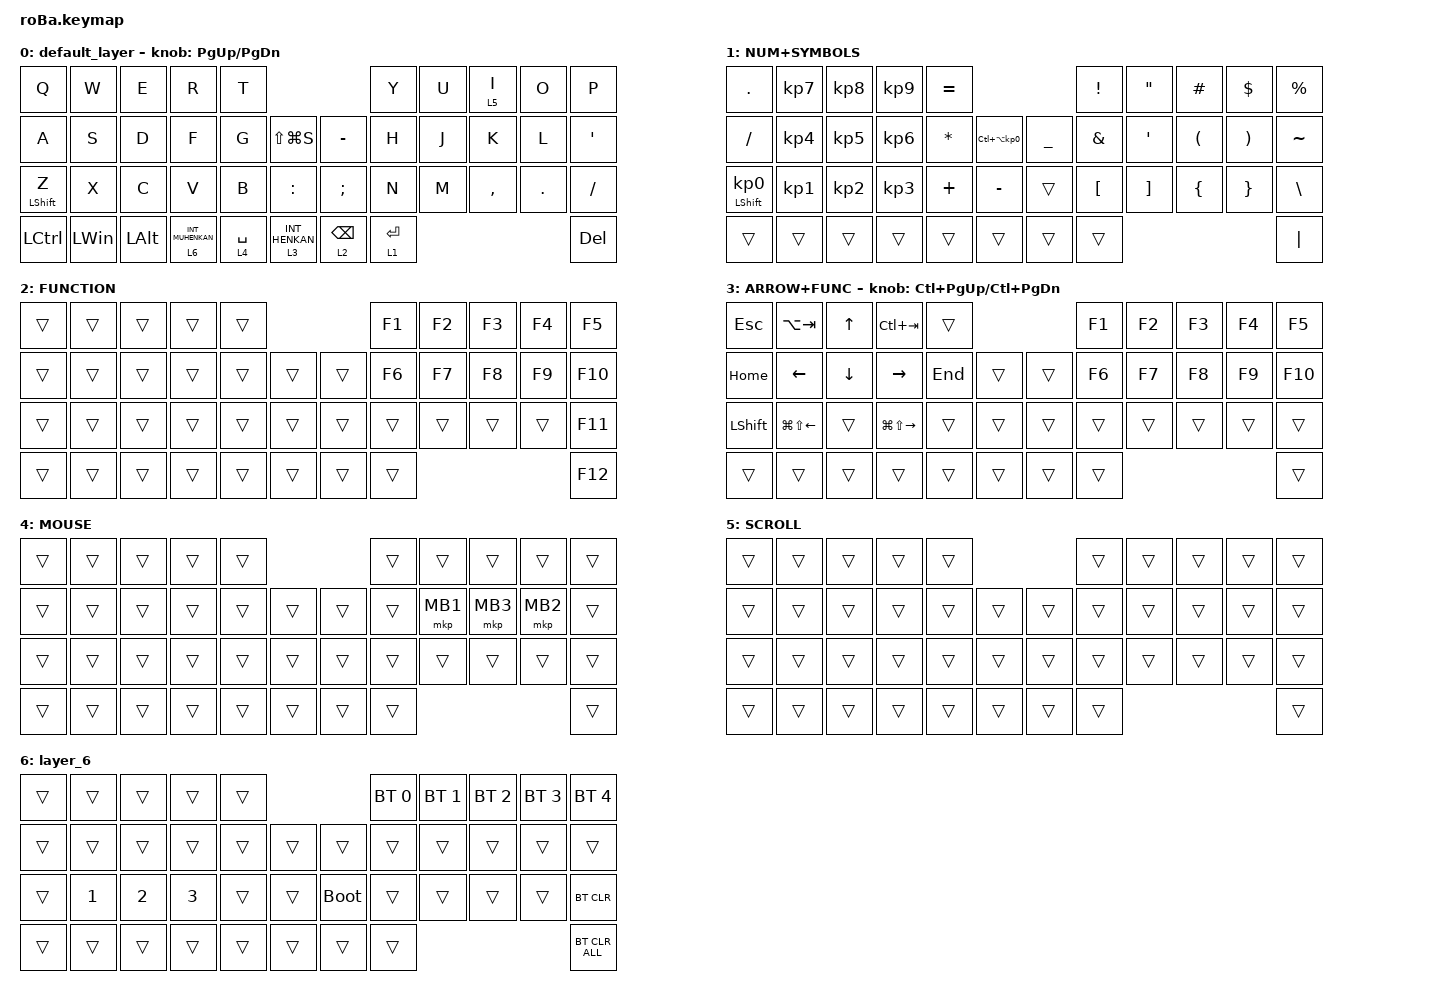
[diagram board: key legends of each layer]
#include <behaviors.dtsi>
#include <dt-bindings/zmk/bt.h>
#include <dt-bindings/zmk/keys.h>
#include <dt-bindings/zmk/pointing.h>

&mt {
    flavor = "balanced";
    quick-tap-ms = <0>;
};

/ {
    combos {
        compatible = "zmk,combos";

        tab {
            bindings = <&kp TAB>;
            key-positions = <11 12>;
        };

        shift_tab {
            bindings = <&kp LS(TAB)>;
            key-positions = <12 13>;
        };

        muhennkann {
            bindings = <&to_layer_0 INT_MUHENKAN>;
            key-positions = <11 10>;
        };

        double_quotation {
            bindings = <&kp DOUBLE_QUOTES>;
            key-positions = <20 21>;
        };

        eq {
            bindings = <&kp EQUAL>;
            key-positions = <24 25>;
        };
    };

    macros {
        to_layer_0: to_layer_0 {
            compatible = "zmk,behavior-macro-one-param";
            #binding-cells = <1>;
            bindings = <&to 0 &macro_param_1to1 &kp MACRO_PLACEHOLDER>;
            label = "TO_LAYER_0";
        };
    };

    behaviors {
        lt_to_layer_0: lt_to_layer_0 {
            compatible = "zmk,behavior-hold-tap";
            label = "LAYER_TAP_TO_0";
            bindings = <&mo>, <&to_layer_0>;

            #binding-cells = <2>;
            tapping-term-ms = <200>;
        };
    };

    keymap {
        compatible = "zmk,keymap";

        default_layer {
            bindings = <
&kp Q             &kp W         &kp E         &kp R                          &kp T                                               &kp Y        &kp U  &lt 5 I    &kp O    &kp P
&kp A             &kp S         &kp D         &kp F                          &kp G        &kp LS(LG(S))         &kp MINUS        &kp H        &kp J  &kp K      &kp L    &kp SQT
&mt LEFT_SHIFT Z  &kp X         &kp C         &kp V                          &kp B        &kp COLON             &kp SEMICOLON    &kp N        &kp M  &kp COMMA  &kp DOT  &kp SLASH
&kp LCTRL         &kp LEFT_WIN  &kp LEFT_ALT  &lt_to_layer_0 6 INT_MUHENKAN  &lt 4 SPACE  &lt 3 INT_HENKAN      &lt 2 BACKSPACE  &lt 1 ENTER                             &kp DEL
            >;

            sensor-bindings = <&inc_dec_kp PG_UP PAGE_DOWN>;
        };

        NUM+SYMBOLS {
            bindings = <
&kp PERIOD                  &kp KP_NUMBER_7  &kp KP_NUMBER_8  &kp KP_NUMBER_9  &kp EQUAL                                                  &kp EXCLAMATION   &kp DOUBLE_QUOTES  &kp HASH              &kp DOLLAR             &kp PERCENT
&kp SLASH                   &kp KP_NUMBER_4  &kp KP_NUMBER_5  &kp KP_NUMBER_6  &kp ASTERISK  &kp LC(LA(KP_NUMBER_0))      &kp UNDERSCORE  &kp AMPERSAND     &kp SQT            &kp LEFT_PARENTHESIS  &kp RIGHT_PARENTHESIS  &kp TILDE
&mt LEFT_SHIFT KP_NUMBER_0  &kp KP_NUMBER_1  &kp KP_NUMBER_2  &kp KP_NUMBER_3  &kp PLUS      &kp MINUS                    &trans          &kp LEFT_BRACKET  &kp RIGHT_BRACKET  &kp LEFT_BRACE        &kp RIGHT_BRACE        &kp BACKSLASH
&trans                      &trans           &trans           &trans           &trans        &trans                       &trans          &trans                                                                            &kp PIPE
            >;
        };

        FUNCTION {
            bindings = <
&trans  &trans  &trans  &trans  &trans                      &kp F1  &kp F2  &kp F3  &kp F4  &kp F5
&trans  &trans  &trans  &trans  &trans  &trans      &trans  &kp F6  &kp F7  &kp F8  &kp F9  &kp F10
&trans  &trans  &trans  &trans  &trans  &trans      &trans  &trans  &trans  &trans  &trans  &kp F11
&trans  &trans  &trans  &trans  &trans  &trans      &trans  &trans                          &kp F12
            >;
        };

        ARROW+FUNC {
            bindings = <
&kp ESCAPE      &kp LA(TAB)             &kp UP_ARROW    &kp LC(TAB)              &trans                       &kp F1  &kp F2  &kp F3  &kp F4  &kp F5
&kp HOME        &kp LEFT_ARROW          &kp DOWN_ARROW  &kp RIGHT_ARROW          &kp END  &trans      &trans  &kp F6  &kp F7  &kp F8  &kp F9  &kp F10
&kp LEFT_SHIFT  &kp LG(LS(LEFT_ARROW))  &trans          &kp LG(LS(RIGHT_ARROW))  &trans   &trans      &trans  &trans  &trans  &trans  &trans  &trans
&trans          &trans                  &trans          &trans                   &trans   &trans      &trans  &trans                          &trans
            >;

            sensor-bindings = <&inc_dec_kp LC(PAGE_UP) LC(PAGE_DOWN)>;
        };

        MOUSE {
            bindings = <
&trans  &trans  &trans  &trans  &trans                      &trans  &trans    &trans    &trans    &trans
&trans  &trans  &trans  &trans  &trans  &trans      &trans  &trans  &mkp MB1  &mkp MB3  &mkp MB2  &trans
&trans  &trans  &trans  &trans  &trans  &trans      &trans  &trans  &trans    &trans    &trans    &trans
&trans  &trans  &trans  &trans  &trans  &trans      &trans  &trans                                &trans
            >;
        };

        SCROLL {
            bindings = <
&trans  &trans  &trans  &trans  &trans                      &trans  &trans  &trans  &trans  &trans
&trans  &trans  &trans  &trans  &trans  &trans      &trans  &trans  &trans  &trans  &trans  &trans
&trans  &trans  &trans  &trans  &trans  &trans      &trans  &trans  &trans  &trans  &trans  &trans
&trans  &trans  &trans  &trans  &trans  &trans      &trans  &trans                          &trans
            >;
        };

        layer_6 {
            bindings = <
&trans  &trans        &trans        &trans        &trans                           &bt BT_SEL 0  &bt BT_SEL 1  &bt BT_SEL 2  &bt BT_SEL 3  &bt BT_SEL 4
&trans  &trans        &trans        &trans        &trans  &trans      &trans       &trans        &trans        &trans        &trans        &trans
&trans  &kp NUMBER_1  &kp NUMBER_2  &kp NUMBER_3  &trans  &trans      &bootloader  &trans        &trans        &trans        &trans        &bt BT_CLR
&trans  &trans        &trans        &trans        &trans  &trans      &trans       &trans                                                  &bt BT_CLR_ALL
            >;
        };
    };
};
